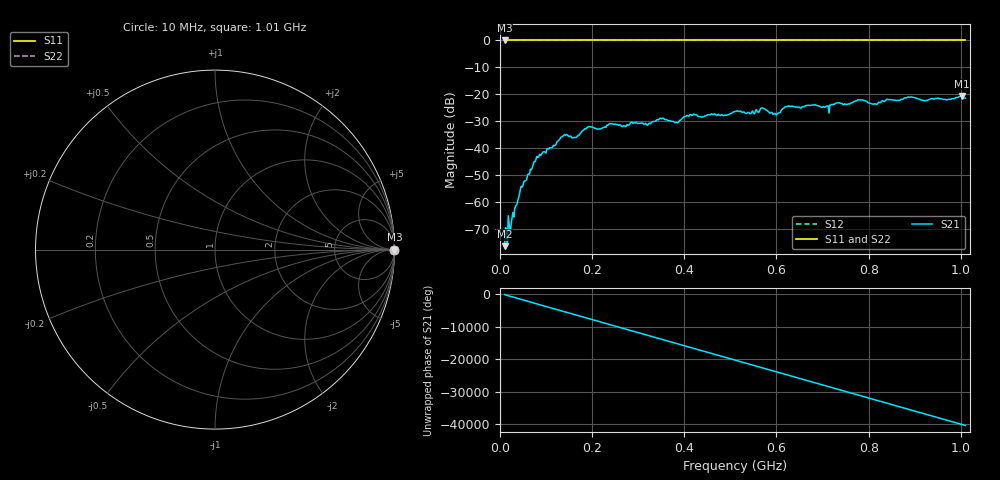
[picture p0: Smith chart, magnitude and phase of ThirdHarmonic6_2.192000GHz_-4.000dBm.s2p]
! 8/17/2025 2:07:53 AM
! C:\ANRITSUVNA\TEMP\TEMP.S2P
! CHANNEL.1
! TR.MEASUREMENT
! RAW.DATA
! RF.CORRECTION.OFF
! AVERAGING.OFF
! IF.BANDWIDTH: 5KHZ
! SWEEPTYPE:  FREQ.SWEEP(Linear)
! Reference Plane Port Info
! PORT:  PORT1  PORT2
! DISTANCE:  0  m  0  m
! TIME:  0  s  0  s
! PHASE.OFFSET:  0  deg.  0  deg.
! LOSS:  0  dB  0  dB
! REF.LOSS:  0  dB  0  dB
! REF.FREQ:  0  Hz  0  Hz
! Power Info
! POWER:  -20  dBm  -20  dBm
! EFF.POWER:  -20  dBm  -20  dBm
! SOURCE.ATTEN:  0  dB  0  dB
! TEST.ATTEN:  0  dB  0  dB
# GHZ S RI R 50.0
! FREQ.GHZ  S11RE  S11IM  S21RE  S21IM  S12RE  S12IM  S22RE  S22IM
!; PortSelection: Port_12
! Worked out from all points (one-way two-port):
!   501 points, 10 MHz to 1.01 GHz, reference 50 ohm
!   highest |S21| = -20.61 dB at 1.002 GHz (marker M1); lowest = -76.5 dB at 10 MHz (marker M2)
!   lowest |S11| = 0.0 dB at 10 MHz (marker M3)
!   |S11| at or under -10 dB: nowhere
!   |S22| runs from 0.0 to 0.0 dB; largest |S21 - S12| = 1.1
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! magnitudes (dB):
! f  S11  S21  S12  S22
! 10 MHz  0.0  -76.5  0.0  0.0
! 16 MHz  0.0  -75.1  0.0  0.0
! 26 MHz  0.0  -66.0  0.0  0.0
! 48 MHz  0.0  -54.5  0.0  0.0
! 78 MHz  0.0  -44.3  0.0  0.0
! 136 MHz  0.0  -35.7  0.0  0.0
! 162 MHz  0.0  -36.0  0.0  0.0
! 178 MHz  0.0  -33.8  0.0  0.0
! 194 MHz  0.0  -32.1  0.0  0.0
! 322 MHz  0.0  -31.1  0.0  0.0
! 344 MHz  0.0  -29.5  0.0  0.0
! 384 MHz  0.0  -30.5  0.0  0.0
! 416 MHz  0.0  -27.8  0.0  0.0
! 510 MHz  0.0  -26.4  0.0  0.0
! 570 MHz  0.0  -25.1  0.0  0.0
! 596 MHz  0.0  -27.1  0.0  0.0
! 622 MHz  0.0  -24.6  0.0  0.0
! 678 MHz  0.0  -24.0  0.0  0.0
! 710 MHz  0.0  -24.4  0.0  0.0
! 844 MHz  0.0  -22.0  0.0  0.0
! 1.002 GHz  0.0  -20.6  0.0  0.0
! 1.01 GHz  0.0  -21.4  0.0  0.0
